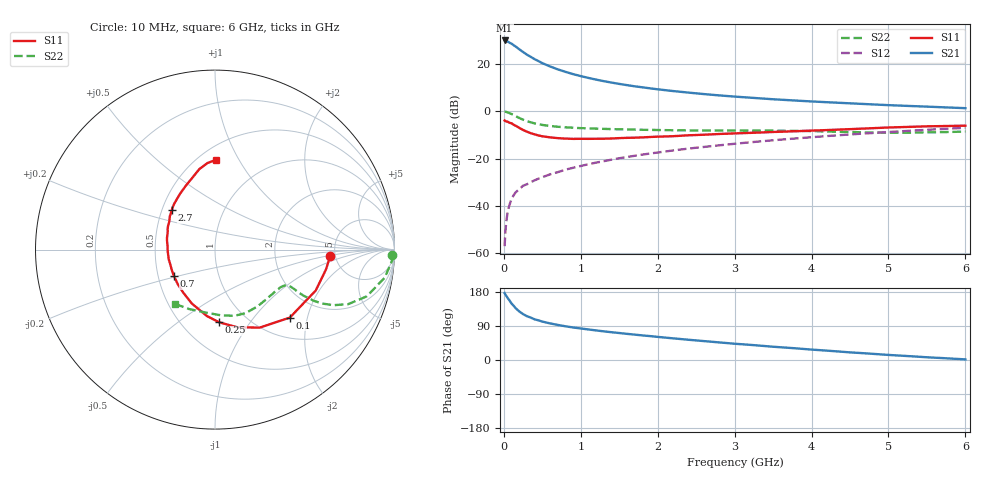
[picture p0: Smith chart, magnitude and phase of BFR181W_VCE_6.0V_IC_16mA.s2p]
! (c) 2017  Infineon Technologies AG, Munich
! Infineon Technologies  Discrete & RF Semiconductors
! BFR181W
! VCE =  6.0 V,  IC =  16 mA
! Common Emitter S-Parameters:  Jan 2017
# GHz  S  MA  R  50
!  f  S11  S21  S12  S22
! GHz  MAG  ANG  MAG  ANG  MAG  ANG  MAG  ANG
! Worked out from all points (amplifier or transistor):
!   77 points, 10 MHz to 6 GHz, reference 50 ohm
!   highest |S21| = 30.1 dB at 10 MHz (marker M1)
!   |S21| within 3 dB of that: start of sweep to 170.7 MHz
!   unconditionally stable (mu >= 1): 825.5 MHz to 2.691 GHz
!   at 130 MHz: K = 0.36, MSG = 31.7 dB, |S12| = -35.4 dB
!   at 2.2 GHz: K = 1.04, MAG = 11.4 dB, |S12| = -16.5 dB
!   at 6 GHz: K = 0.84, MSG = 4.2 dB, |S12| = -6.9 dB
!   S11 on the Smith chart (normalised r, x): 10 MHz: 4.51, -0.59; 100 MHz: 1.41, -1.57; 250 MHz: 0.75, -0.72; 700 MHz: 0.60, -0.19; 2.7 GHz: 0.56, +0.28; 6 GHz: 0.61, +0.81
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0.01  0.6424 -3.4  31.9 176.7  0.0014 80.5  0.9854 -1.7
0.02  0.6283 -10.1  31.3 172.8  0.0028 96.6  0.9883 -3.6
0.05  0.6058 -22.1  30.27 163.5  0.0074 81.3  0.9586 -9.4
0.1  0.5632 -42.3  27.3 149.0  0.0139 74.2  0.8845 -17.1
0.15  0.501 -60.2  23.96 137.5  0.0191 68.1  0.8013 -22.3
0.2  0.4496 -74.1  20.77 128.2  0.0225 66.7  0.7277 -25.2
0.25  0.4058 -86.7  18.16 121.1  0.0267 64.1  0.6685 -26.7
0.3  0.373 -96.9  15.97 115.6  0.0287 64.0  0.6209 -27.4
0.4  0.3268 -113.3  12.79 107.3  0.0348 64.8  0.5574 -27.5
0.5  0.2977 -126.6  10.56 101.4  0.0404 65.7  0.5181 -27.0
0.6  0.2826 -137.4  8.995 96.6  0.0465 67.0  0.4926 -26.5
0.7  0.2722 -147.2  7.803 92.6  0.0517 68.1  0.4744 -26.2
0.9  0.2623 -161.7  6.177 85.9  0.064 69.7  0.4519 -26.3
1.1  0.2626 -173.5  5.127 80.6  0.0762 70.5  0.4383 -27.2
1.3  0.2644 176.4  4.378 75.6  0.0885 70.7  0.4276 -28.7
1.5  0.2724 169.3  3.833 71.2  0.102 70.9  0.4186 -30.7
2.1  0.2954 151.0  2.823 59.1  0.142 69.6  0.402 -39.3
2.7  0.3269 137.3  2.26 48.2  0.1843 67.0  0.395 -50.1
3.1  0.3469 129.3  2.011 41.5  0.2141 64.5  0.3927 -57.4
4.1  0.3977 112.7  1.599 26.1  0.2925 57.3  0.3799 -75.8
5.1  0.4621 99.7  1.34 12.2  0.3748 48.6  0.354 -101.5
6  0.4999 89.4  1.174 1.6  0.4503 39.8  0.3758 -126.5
